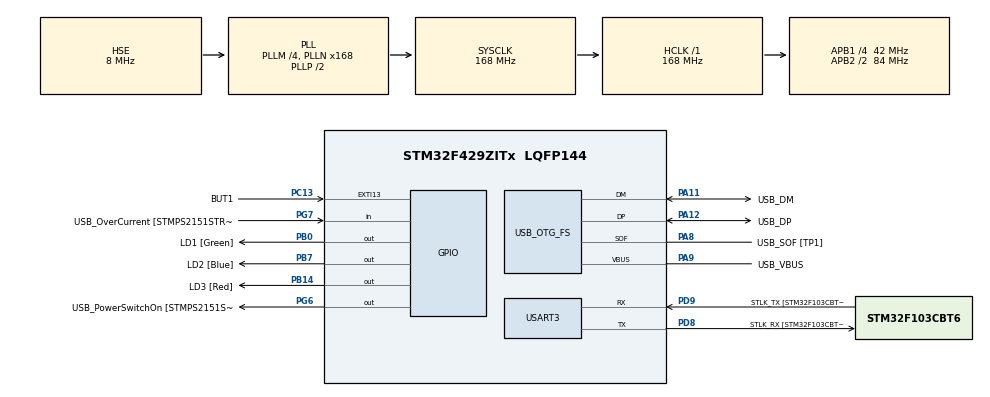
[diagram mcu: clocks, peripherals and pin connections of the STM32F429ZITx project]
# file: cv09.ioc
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Mcu.Family=STM32F4
Mcu.Name=STM32F429ZITx
Mcu.Package=LQFP144
NVIC.OTG_FS_IRQn=true\:0\:0\:false\:false\:true\:false\:true
NVIC.PriorityGroup=NVIC_PRIORITYGROUP_4
PA1.GPIO_Label=RMII_REF_CLK [LAN8742A-CZ-TR_REFCLK0]
PA1.Signal=ETH_REF_CLK
PA10.GPIO_Label=USB_ID
PA10.Signal=USB_OTG_FS_ID
PA11.GPIO_Label=USB_DM
PA11.Mode=Device_Only
PA11.Signal=USB_OTG_FS_DM
PA12.GPIO_Label=USB_DP
PA12.Mode=Device_Only
PA12.Signal=USB_OTG_FS_DP
PA13.GPIO_Label=TMS
PA13.Mode=Serial_Wire
PA13.Signal=SYS_JTMS-SWDIO
PA14.GPIO_Label=TCK
PA14.Mode=Serial_Wire
PA14.Signal=SYS_JTCK-SWCLK
PA2.GPIO_Label=RMII_MDIO [LAN8742A-CZ-TR_MDIO]
PA2.Signal=ETH_MDIO
PA7.GPIO_Label=RMII_CRS_DV [LAN8742A-CZ-TR_CRS_DV]
PA7.Signal=ETH_CRS_DV
PA8.GPIO_Label=USB_SOF [TP1]
PA8.Mode=Activate_SOF_FS
PA8.Signal=USB_OTG_FS_SOF
PA9.GPIO_Label=USB_VBUS
PA9.Mode=Activate_VBUS
PA9.Signal=USB_OTG_FS_VBUS
PB0.GPIO_Label=LD1 [Green]
PB0.Signal=GPIO_Output
PB13.GPIO_Label=RMII_TXD1 [LAN8742A-CZ-TR_TXD1]
PB13.Signal=ETH_TXD1
PB14.GPIO_Label=LD3 [Red]
PB14.Signal=GPIO_Output
PB7.GPIO_Label=LD2 [Blue]
PB7.Signal=GPIO_Output
PC1.GPIO_Label=RMII_MDC [LAN8742A-CZ-TR_MDC]
PC1.Signal=ETH_MDC
PC13.GPIO_Label=BUT1
PC13.Signal=GPXTI13
PC14/OSC32_IN.Mode=LSE-External-Oscillator
PC14/OSC32_IN.Signal=RCC_OSC32_IN
PC15/OSC32_OUT.Mode=LSE-External-Oscillator
PC15/OSC32_OUT.Signal=RCC_OSC32_OUT
PC4.GPIO_Label=RMII_RXD0 [LAN8742A-CZ-TR_RXD0]
PC4.Signal=ETH_RXD0
PC5.GPIO_Label=RMII_RXD1 [LAN8742A-CZ-TR_RXD1]
PC5.Signal=ETH_RXD1
PD8.GPIO_Label=STLK_RX [STM32F103CBT6_PA3]
PD8.Mode=Asynchronous
PD8.Signal=USART3_TX
PD9.GPIO_Label=STLK_TX [STM32F103CBT6_PA2]
PD9.Mode=Asynchronous
PD9.Signal=USART3_RX
PG11.GPIO_Label=RMII_TX_EN [LAN8742A-CZ-TR_TXEN]
PG11.Signal=ETH_TX_EN
PG13.GPIO_Label=RMII_TXD0 [LAN8742A-CZ-TR_TXD0]
PG13.Signal=ETH_TXD0
PG6.GPIO_Label=USB_PowerSwitchOn [STMPS2151STR_EN]
PG6.Signal=GPIO_Output
PG7.GPIO_Label=USB_OverCurrent [STMPS2151STR_FAULT]
PG7.Signal=GPIO_Input
PH0/OSC_IN.GPIO_Label=MCO [STM32F103CBT6_PA8]
PH0/OSC_IN.Mode=HSE-External-Clock-Source
PH0/OSC_IN.Signal=RCC_OSC_IN
PH1/OSC_OUT.Mode=HSE-External-Clock-Source
PH1/OSC_OUT.Signal=RCC_OSC_OUT
ProjectManager.HeapSize=0x200
ProjectManager.StackSize=0x400
ProjectManager.TargetToolchain=STM32CubeIDE
RCC.48MHZClocksFreq_Value=48000000
RCC.AHBFreq_Value=168000000
RCC.APB1CLKDivider=RCC_HCLK_DIV4
RCC.APB1Freq_Value=42000000
RCC.APB1TimFreq_Value=84000000
RCC.APB2CLKDivider=RCC_HCLK_DIV2
RCC.APB2Freq_Value=84000000
RCC.APB2TimCLKDivider=2
RCC.APB2TimFreq_Value=168000000
RCC.CortexFreq_Value=168000000
RCC.HCLKFreq_Value=168000000
RCC.HSE_VALUE=8000000
RCC.HSI_VALUE=16000000
RCC.PLLM=4
RCC.PLLMUL=RCC_PLL_MUL9
RCC.PLLN=168
RCC.PLLQ=7
RCC.PRESCALERUSB=RCC_USBCLKSOURCE_PLL_DIV1_5
RCC.SYSCLKFreq_VALUE=168000000
RCC.SYSCLKSource=RCC_SYSCLKSOURCE_PLLCLK
RCC.SYSCLKSourceVirtual=RCC_SYSCLKSOURCE_PLLCLK
RCC.USBFreq_Value=48000000
RCC.VCOOutputFreq_Value=336000000
USART3.VirtualMode=VM_ASYNC
USB_DEVICE.CLASS_NAME_FS=HID
USB_DEVICE.VirtualMode-HID_FS=Hid
USB_DEVICE.VirtualModeFS=Hid_FS
USB_OTG_FS.VirtualMode=Device_Only
VP_USB_DEVICE_VS_USB_DEVICE_HID_FS.Mode=HID_FS
board=NUCLEO-F429ZI

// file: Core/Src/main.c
/* USER CODE BEGIN Header */
/**
  ******************************************************************************
  * @file           : main.c
  * @brief          : Main program body
  ******************************************************************************
  * @attention
  *
  * <h2><center>&copy; Copyright (c) 2020 STMicroelectronics.
  * All rights reserved.</center></h2>
  *
  * This software component is licensed by ST under BSD 3-Clause license,
  * the "License"; You may not use this file except in compliance with the
  * License. You may obtain a copy of the License at:
  *                        opensource.org/licenses/BSD-3-Clause
  *
  ******************************************************************************
  */
/* USER CODE END Header */

#include "main.h"
#include "usb_device.h"

/* USER CODE BEGIN Includes */
#include "usbd_hid.h"
#include <stdbool.h>
#include <math.h>
/* USER CODE END Includes */

/* USER CODE BEGIN PD */
#define PI 3.1416
/* USER CODE END PD */

/* USER CODE BEGIN PM */
#define STEP 50
/* USER CODE END PM */

UART_HandleTypeDef huart3;

void SystemClock_Config(void);
static void MX_GPIO_Init(void);
static void MX_USART3_UART_Init(void);
/* USER CODE BEGIN PFP */
extern USBD_HandleTypeDef hUsbDeviceFS;
/* USER CODE END PFP */

/* USER CODE BEGIN 0 */
void step(int8_t x, int8_t y, _Bool btn) {
	uint8_t buff[4];
	buff[0] = 0x00;
	if (btn) buff[0] = 0x01; // stiskni leve tlacitko
	buff[1] = x; // posun X
	buff[2] = y; // posun Y
	buff[3] = 0; // bez scrollu
	USBD_HID_SendReport(&hUsbDeviceFS, buff, sizeof(buff));
	HAL_Delay(USBD_HID_GetPollingInterval(&hUsbDeviceFS));
}

void circle(uint16_t radius) {

	float x = 0, y = 0;
	float sx = 0, sy = 0;
	uint8_t par_x, par_y;

	for(uint8_t i = 0; i < STEP; i++) {
		x = radius * cos((2 * PI * i)/STEP);
		y = radius * sin((2 * PI * i)/STEP);

		par_x = round (x - sx);
		par_y = round (y - sy);

		step(par_x, par_y, true);

		sx = x;
		sy = y;
	}
}
/* USER CODE END 0 */

int main(void)
{

  /* MCU Configuration--------------------------------------------------------*/

  /* Reset of all peripherals, Initializes the Flash interface and the Systick. */
  HAL_Init();

  /* Configure the system clock */
  SystemClock_Config();

  /* Initialize all configured peripherals */
  MX_GPIO_Init();
  MX_USART3_UART_Init();
  MX_USB_DEVICE_Init();

  /* Infinite loop */
  while (1)
  {

    /* USER CODE BEGIN 3 */
	if(HAL_GPIO_ReadPin(BUT1_GPIO_Port, BUT1_Pin) == 1) {
	    circle(50);
    }

  }
  /* USER CODE END 3 */
}

void SystemClock_Config(void)
{
  RCC_OscInitTypeDef RCC_OscInitStruct = {0};
  RCC_ClkInitTypeDef RCC_ClkInitStruct = {0};

  /** Configure the main internal regulator output voltage
  */
  __HAL_RCC_PWR_CLK_ENABLE();
  __HAL_PWR_VOLTAGESCALING_CONFIG(PWR_REGULATOR_VOLTAGE_SCALE1);
  /** Initializes the CPU, AHB and APB busses clocks
  */
  RCC_OscInitStruct.OscillatorType = RCC_OSCILLATORTYPE_HSE;
  RCC_OscInitStruct.HSEState = RCC_HSE_BYPASS;
  RCC_OscInitStruct.PLL.PLLState = RCC_PLL_ON;
  RCC_OscInitStruct.PLL.PLLSource = RCC_PLLSOURCE_HSE;
  RCC_OscInitStruct.PLL.PLLM = 4;
  RCC_OscInitStruct.PLL.PLLN = 168;
  RCC_OscInitStruct.PLL.PLLP = RCC_PLLP_DIV2;
  RCC_OscInitStruct.PLL.PLLQ = 7;
  if (HAL_RCC_OscConfig(&RCC_OscInitStruct) != HAL_OK)
  {
    Error_Handler();
  }
  /** Initializes the CPU, AHB and APB busses clocks
  */
  RCC_ClkInitStruct.ClockType = RCC_CLOCKTYPE_HCLK|RCC_CLOCKTYPE_SYSCLK
                              |RCC_CLOCKTYPE_PCLK1|RCC_CLOCKTYPE_PCLK2;
  RCC_ClkInitStruct.SYSCLKSource = RCC_SYSCLKSOURCE_PLLCLK;
  RCC_ClkInitStruct.AHBCLKDivider = RCC_SYSCLK_DIV1;
  RCC_ClkInitStruct.APB1CLKDivider = RCC_HCLK_DIV4;
  RCC_ClkInitStruct.APB2CLKDivider = RCC_HCLK_DIV2;

  if (HAL_RCC_ClockConfig(&RCC_ClkInitStruct, FLASH_LATENCY_5) != HAL_OK)
  {
    Error_Handler();
  }
}

static void MX_USART3_UART_Init(void)
{

  huart3.Instance = USART3;
  huart3.Init.BaudRate = 115200;
  huart3.Init.WordLength = UART_WORDLENGTH_8B;
  huart3.Init.StopBits = UART_STOPBITS_1;
  huart3.Init.Parity = UART_PARITY_NONE;
  huart3.Init.Mode = UART_MODE_TX_RX;
  huart3.Init.HwFlowCtl = UART_HWCONTROL_NONE;
  huart3.Init.OverSampling = UART_OVERSAMPLING_16;
  if (HAL_UART_Init(&huart3) != HAL_OK)
  {
    Error_Handler();
  }

}

static void MX_GPIO_Init(void)
{
  GPIO_InitTypeDef GPIO_InitStruct = {0};

  /* GPIO Ports Clock Enable */
  __HAL_RCC_GPIOC_CLK_ENABLE();
  __HAL_RCC_GPIOH_CLK_ENABLE();
  __HAL_RCC_GPIOA_CLK_ENABLE();
  __HAL_RCC_GPIOB_CLK_ENABLE();
  __HAL_RCC_GPIOD_CLK_ENABLE();
  __HAL_RCC_GPIOG_CLK_ENABLE();

  /*Configure GPIO pin Output Level */
  HAL_GPIO_WritePin(GPIOB, LD1_Pin|LD3_Pin|LD2_Pin, GPIO_PIN_RESET);

  /*Configure GPIO pin Output Level */
  HAL_GPIO_WritePin(USB_PowerSwitchOn_GPIO_Port, USB_PowerSwitchOn_Pin, GPIO_PIN_RESET);

  /*Configure GPIO pin : BUT1_Pin */
  GPIO_InitStruct.Pin = BUT1_Pin;
  GPIO_InitStruct.Mode = GPIO_MODE_IT_RISING;
  GPIO_InitStruct.Pull = GPIO_NOPULL;
  HAL_GPIO_Init(BUT1_GPIO_Port, &GPIO_InitStruct);

  /*Configure GPIO pins : RMII_MDC_Pin RMII_RXD0_Pin RMII_RXD1_Pin */
  GPIO_InitStruct.Pin = RMII_MDC_Pin|RMII_RXD0_Pin|RMII_RXD1_Pin;
  GPIO_InitStruct.Mode = GPIO_MODE_AF_PP;
  GPIO_InitStruct.Pull = GPIO_NOPULL;
  GPIO_InitStruct.Speed = GPIO_SPEED_FREQ_VERY_HIGH;
  GPIO_InitStruct.Alternate = GPIO_AF11_ETH;
  HAL_GPIO_Init(GPIOC, &GPIO_InitStruct);

  /*Configure GPIO pins : RMII_REF_CLK_Pin RMII_MDIO_Pin RMII_CRS_DV_Pin */
  GPIO_InitStruct.Pin = RMII_REF_CLK_Pin|RMII_MDIO_Pin|RMII_CRS_DV_Pin;
  GPIO_InitStruct.Mode = GPIO_MODE_AF_PP;
  GPIO_InitStruct.Pull = GPIO_NOPULL;
  GPIO_InitStruct.Speed = GPIO_SPEED_FREQ_VERY_HIGH;
  GPIO_InitStruct.Alternate = GPIO_AF11_ETH;
  HAL_GPIO_Init(GPIOA, &GPIO_InitStruct);

  /*Configure GPIO pins : LD1_Pin LD3_Pin LD2_Pin */
  GPIO_InitStruct.Pin = LD1_Pin|LD3_Pin|LD2_Pin;
  GPIO_InitStruct.Mode = GPIO_MODE_OUTPUT_PP;
  GPIO_InitStruct.Pull = GPIO_NOPULL;
  GPIO_InitStruct.Speed = GPIO_SPEED_FREQ_LOW;
  HAL_GPIO_Init(GPIOB, &GPIO_InitStruct);

  /*Configure GPIO pin : RMII_TXD1_Pin */
  GPIO_InitStruct.Pin = RMII_TXD1_Pin;
  GPIO_InitStruct.Mode = GPIO_MODE_AF_PP;
  GPIO_InitStruct.Pull = GPIO_NOPULL;
  GPIO_InitStruct.Speed = GPIO_SPEED_FREQ_VERY_HIGH;
  GPIO_InitStruct.Alternate = GPIO_AF11_ETH;
  HAL_GPIO_Init(RMII_TXD1_GPIO_Port, &GPIO_InitStruct);

  /*Configure GPIO pin : USB_PowerSwitchOn_Pin */
  GPIO_InitStruct.Pin = USB_PowerSwitchOn_Pin;
  GPIO_InitStruct.Mode = GPIO_MODE_OUTPUT_PP;
  GPIO_InitStruct.Pull = GPIO_NOPULL;
  GPIO_InitStruct.Speed = GPIO_SPEED_FREQ_LOW;
  HAL_GPIO_Init(USB_PowerSwitchOn_GPIO_Port, &GPIO_InitStruct);

  /*Configure GPIO pin : USB_OverCurrent_Pin */
  GPIO_InitStruct.Pin = USB_OverCurrent_Pin;
  GPIO_InitStruct.Mode = GPIO_MODE_INPUT;
  GPIO_InitStruct.Pull = GPIO_NOPULL;
  HAL_GPIO_Init(USB_OverCurrent_GPIO_Port, &GPIO_InitStruct);

  /*Configure GPIO pins : RMII_TX_EN_Pin RMII_TXD0_Pin */
  GPIO_InitStruct.Pin = RMII_TX_EN_Pin|RMII_TXD0_Pin;
  GPIO_InitStruct.Mode = GPIO_MODE_AF_PP;
  GPIO_InitStruct.Pull = GPIO_NOPULL;
  GPIO_InitStruct.Speed = GPIO_SPEED_FREQ_VERY_HIGH;
  GPIO_InitStruct.Alternate = GPIO_AF11_ETH;
  HAL_GPIO_Init(GPIOG, &GPIO_InitStruct);

}

void Error_Handler(void)
{
}

/************************ (C) COPYRIGHT STMicroelectronics *****END OF FILE****/
